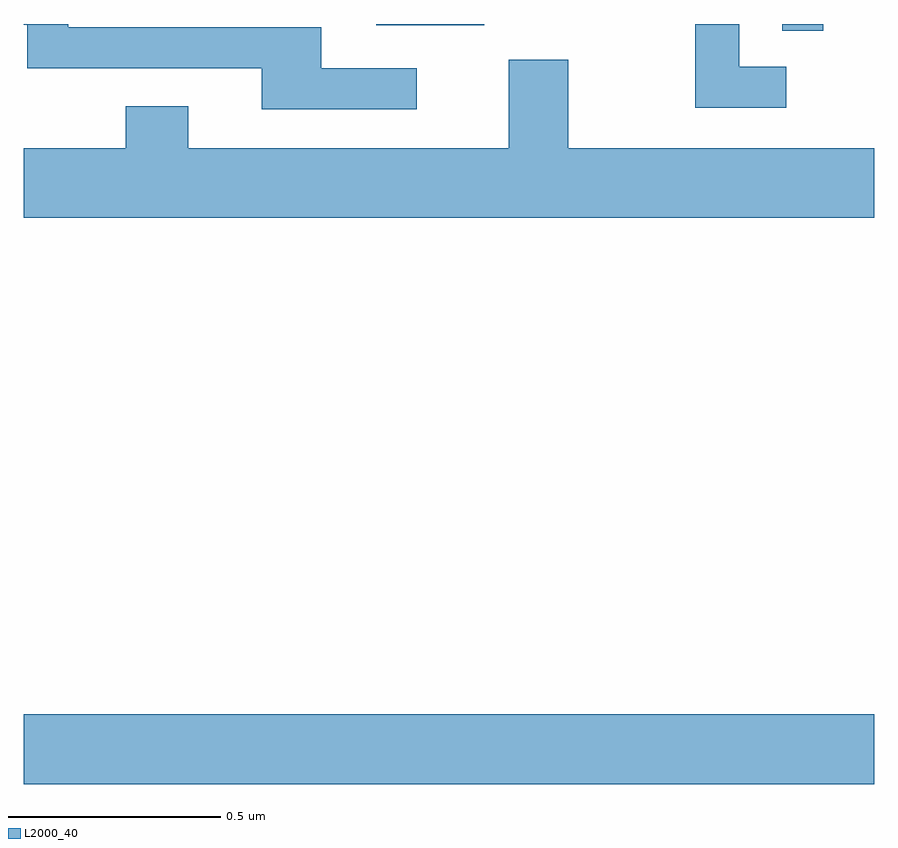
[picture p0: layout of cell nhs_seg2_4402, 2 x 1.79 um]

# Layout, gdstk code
import gdstk
lib = gdstk.Library(unit=1e-6, precision=1e-09)
def R(c, l, rs):  # rectangles x0, y0, x1, y1
    for r in rs: c.add(gdstk.rectangle(r[:2], r[2:], *l))
def P(c, l, *ps):  # polygons
    for p in ps: c.add(gdstk.Polygon(p, *l))
L2000_40 = (2000, 40)

nhs_seg2_4402 = lib.new_cell('nhs_seg2_4402')
R(nhs_seg2_4402, L2000_40, [(166,605.012,168,605.176), (167.784,606.784,167.88,606.8), (166.829,606.797,167.083,606.8)])
P(nhs_seg2_4402, L2000_40, [(166.924,606.696),(166.699,606.696),(166.699,606.792),(166.104,606.792),(166.104,606.8),(166,606.8),(166,606.798),(166.008,606.798),(166.008,606.696),(166.559,606.696),(166.559,606.6),(166.924,606.6)],
  [(167.794,606.699),(167.683,606.699),(167.683,606.8),(167.579,606.8),(167.579,606.603),(167.794,606.603)],
  [(168,606.508),(167.281,606.508),(167.281,606.716),(167.141,606.716),(167.141,606.508),(166.387,606.508),(166.387,606.607),(166.24,606.607),(166.24,606.508),(166,606.508),(166,606.344),(168,606.344)])

lib.write_gds('nhs_seg2_4402.gds')
